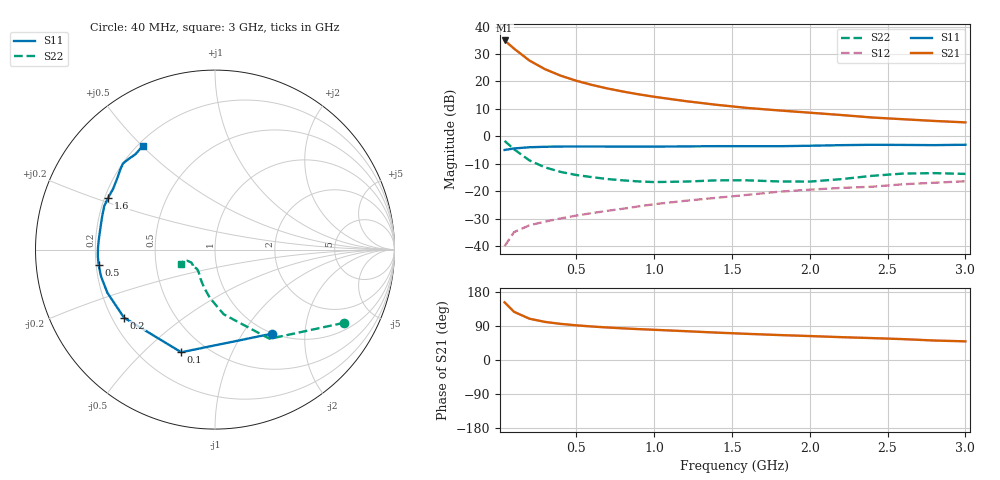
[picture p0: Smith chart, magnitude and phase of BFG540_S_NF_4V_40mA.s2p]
! Filename:  BFG540E.S2P  Version:  3.0
! Philips part #: BFG540  Date: Feb 1992
! Bias condition: Vce=4V, Ic=40mA
! IN LINE PINNING: same data as with cross emitter pinning.
#  MHz  S  MA  R  50
! Freq  S11  S21  S12  S22  !GUM [dB]
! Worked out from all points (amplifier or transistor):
!   21 points, 40 MHz to 3 GHz, reference 50 ohm
!   highest |S21| = 34.9 dB at 40 MHz (marker M1)
!   |S21| within 3 dB of that: start of sweep to 101.2 MHz
!   unconditionally stable (mu >= 1): 684.1 MHz to end of sweep
!   at 300 MHz: K = 0.68, MSG = 27.8 dB, |S12| = -31.1 dB
!   at 1 GHz: K = 1.11, MAG = 17.6 dB, |S12| = -24.7 dB
!   at 3 GHz: K = 1.14, MAG = 8.4 dB, |S12| = -16.4 dB
!   lowest NFmin = 1.90 dB at 900 MHz
!   S11 on the Smith chart (normalised r, x): 40 MHz: 0.99, -1.36; 100 MHz: 0.37, -0.66; 200 MHz: 0.25, -0.31; 500 MHz: 0.21, -0.06; 1.6 GHz: 0.21, +0.22; 3 GHz: 0.22, +0.50
40  0.565 -56.1  55.76 152.1  0.01 68.6  0.826 -29.6
100  0.602 -108.2  39.71 127.2  0.018 51.9  0.583 -58.5
200  0.633 -143.2  23.95 108.9  0.024 46.1  0.364 -82.3
300  0.646 -158.1  16.69 100.5  0.028 47.3  0.272 -95.8
400  0.652 -166.5  12.74 95.3  0.032 51.0  0.225 -104.9
500  0.654 -172.3  10.3 91.5  0.036 53.9  0.198 -111.5
600  0.654 -177.0  8.651 88.4  0.04 56.7  0.181 -116.4
700  0.652 179.1  7.453 85.8  0.044 59.0  0.167 -120.7
800  0.65 175.6  6.547 83.5  0.048 60.9  0.158 -124.6
900  0.649 172.2  5.831 81.5  0.053 62.5  0.151 -128.8
1000  0.65 168.8  5.261 79.7  0.058 63.9  0.147 -132.8
1200  0.656 163.2  4.39 76.1  0.067 65.5  0.15 -139.0
1400  0.663 158.6  3.756 72.3  0.076 65.8  0.158 -141.1
1600  0.662 154.2  3.288 69.0  0.086 67.5  0.158 -141.5
1800  0.661 149.2  2.967 65.9  0.098 66.9  0.151 -144.0
2000  0.674 143.9  2.696 63.2  0.107 67.5  0.15 -151.1
2200  0.691 139.8  2.449 60.3  0.115 67.2  0.166 -158.0
2400  0.702 136.9  2.205 57.8  0.121 67.7  0.191 -159.6
2600  0.698 134.0  2.049 55.1  0.134 66.5  0.21 -157.1
2800  0.692 129.8  1.907 51.4  0.143 64.0  0.214 -154.6
3000  0.704 124.8  1.796 49.2  0.152 64.5  0.207 -156.5
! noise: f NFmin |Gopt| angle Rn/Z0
900  1.9  0.351  179  0.11
2000  2.6  0.543  -150  0.17
